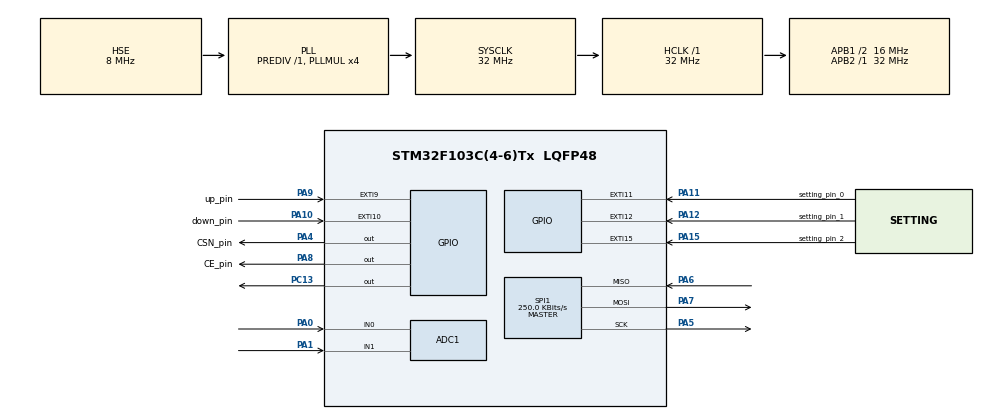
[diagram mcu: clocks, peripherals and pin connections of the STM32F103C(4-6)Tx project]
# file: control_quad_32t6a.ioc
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ADC1.Channel-7\#ChannelRegularConversion=ADC_CHANNEL_0
ADC1.NbrOfConversion=1
ADC1.NbrOfConversionFlag=1
ADC1.Rank-7\#ChannelRegularConversion=1
ADC1.SamplingTime-7\#ChannelRegularConversion=ADC_SAMPLETIME_239CYCLES_5
ADC1.master=1
Mcu.Family=STM32F1
Mcu.Name=STM32F103C(4-6)Tx
Mcu.Package=LQFP48
NVIC.ADC1_2_IRQn=true\:0\:0\:false\:false\:true\:true\:true\:true
NVIC.EXTI15_10_IRQn=true\:0\:0\:false\:false\:true\:true\:true\:true
NVIC.EXTI9_5_IRQn=true\:0\:0\:false\:false\:true\:true\:true\:true
NVIC.PriorityGroup=NVIC_PRIORITYGROUP_4
PA0-WKUP.Signal=ADCx_IN0
PA1.Signal=ADCx_IN1
PA10.GPIO_Label=down_pin
PA10.GPIO_ModeDefaultEXTI=GPIO_MODE_IT_RISING_FALLING
PA10.GPIO_PuPd=GPIO_PULLUP
PA10.Signal=GPXTI10
PA11.GPIO_Label=setting_pin_0
PA11.GPIO_ModeDefaultEXTI=GPIO_MODE_IT_RISING_FALLING
PA11.GPIO_PuPd=GPIO_PULLUP
PA11.Signal=GPXTI11
PA12.GPIO_Label=setting_pin_1
PA12.GPIO_ModeDefaultEXTI=GPIO_MODE_IT_RISING_FALLING
PA12.GPIO_PuPd=GPIO_PULLUP
PA12.Signal=GPXTI12
PA13.Mode=Serial_Wire
PA13.Signal=SYS_JTMS-SWDIO
PA14.Mode=Serial_Wire
PA14.Signal=SYS_JTCK-SWCLK
PA15.GPIO_Label=setting_pin_2
PA15.GPIO_ModeDefaultEXTI=GPIO_MODE_IT_RISING_FALLING
PA15.GPIO_PuPd=GPIO_PULLUP
PA15.Signal=GPXTI15
PA4.GPIO_Label=CSN_pin
PA4.PinState=GPIO_PIN_RESET
PA4.Signal=GPIO_Output
PA5.Mode=Full_Duplex_Master
PA5.Signal=SPI1_SCK
PA6.Mode=Full_Duplex_Master
PA6.Signal=SPI1_MISO
PA7.Mode=Full_Duplex_Master
PA7.Signal=SPI1_MOSI
PA8.GPIO_Label=CE_pin
PA8.Signal=GPIO_Output
PA9.GPIO_Label=up_pin
PA9.GPIO_ModeDefaultEXTI=GPIO_MODE_IT_RISING_FALLING
PA9.GPIO_PuPd=GPIO_PULLUP
PA9.Signal=GPXTI9
PC13-TAMPER-RTC.PinState=GPIO_PIN_RESET
PC13-TAMPER-RTC.Signal=GPIO_Output
PD0-OSC_IN.Mode=HSE-External-Oscillator
PD0-OSC_IN.Signal=RCC_OSC_IN
PD1-OSC_OUT.Mode=HSE-External-Oscillator
PD1-OSC_OUT.Signal=RCC_OSC_OUT
ProjectManager.HeapSize=0x200
ProjectManager.StackSize=0x400
ProjectManager.TargetToolchain=STM32CubeIDE
RCC.ADCPresc=RCC_ADCPCLK2_DIV4
RCC.AHBFreq_Value=32000000
RCC.APB1CLKDivider=RCC_HCLK_DIV2
RCC.APB1Freq_Value=16000000
RCC.APB1TimFreq_Value=32000000
RCC.APB2Freq_Value=32000000
RCC.APB2TimFreq_Value=32000000
RCC.HCLKFreq_Value=32000000
RCC.PLLMUL=RCC_PLL_MUL4
RCC.PLLSourceVirtual=RCC_PLLSOURCE_HSE
RCC.SYSCLKFreq_VALUE=32000000
RCC.SYSCLKSource=RCC_SYSCLKSOURCE_PLLCLK
RCC.USBFreq_Value=32000000
SH.ADCx_IN0.0=ADC1_IN0,IN0
SH.ADCx_IN1.0=ADC1_IN1,IN1
SPI1.BaudRatePrescaler=SPI_BAUDRATEPRESCALER_128
SPI1.CalculateBaudRate=250.0 KBits/s
SPI1.Direction=SPI_DIRECTION_2LINES
SPI1.Mode=SPI_MODE_MASTER
SPI1.VirtualType=VM_MASTER
board=custom

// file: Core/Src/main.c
/* USER CODE BEGIN Header */
/**
  ******************************************************************************
  * @file           : main.c
  * @brief          : Main program body
  ******************************************************************************
  * @attention
  *
  * Copyright (c) 2022 STMicroelectronics.
  * All rights reserved.
  *
  * This software is licensed under terms that can be found in the LICENSE file
  * in the root directory of this software component.
  * If no LICENSE file comes with this software, it is provided AS-IS.
  *
  ******************************************************************************
  */
/* USER CODE END Header */
#include "main.h"

ADC_HandleTypeDef hadc1;

SPI_HandleTypeDef hspi1;

/* USER CODE BEGIN PV */
uint8_t data_tran[20] = {0};
uint8_t data_rx[20] = {0};
data_send data_to_quad;
uint16_t couter_send_data;
NRF24L01_config_TypeDef nrf_tx_cfg;
bool button_status[2];
/* USER CODE END PV */

void SystemClock_Config(void);
static void MX_GPIO_Init(void);
static void MX_ADC1_Init(void);
static void MX_SPI1_Init(void);
/* USER CODE BEGIN PFP */
uint16_t counter = 0 ;
void ADC_Select_CH0(void);
void ADC_Select_CH1(void);
/* USER CODE END PFP */

/* USER CODE BEGIN 0 */
void ADC_Select_CH0(void)
{
	 ADC_ChannelConfTypeDef sConfig = {0};
	 sConfig.Channel = ADC_CHANNEL_0;
	 sConfig.Rank = ADC_REGULAR_RANK_1;
	 sConfig.SamplingTime = ADC_SAMPLETIME_239CYCLES_5;
	 if (HAL_ADC_ConfigChannel(&hadc1, &sConfig) != HAL_OK)
	 {
	   Error_Handler();
	 }
}
void ADC_Select_CH1(void)
{
	ADC_ChannelConfTypeDef sConfig = {0};
	 sConfig.Channel = ADC_CHANNEL_1;
	 sConfig.Rank = ADC_REGULAR_RANK_1;
	 sConfig.SamplingTime = ADC_SAMPLETIME_239CYCLES_5;
	 if (HAL_ADC_ConfigChannel(&hadc1, &sConfig) != HAL_OK)
	 {
	   Error_Handler();
	 }
}
void HAL_GPIO_EXTI_Callback(uint16_t GPIO_Pin)
{
  UNUSED(GPIO_Pin);

//  HAL_GPIO_ReadPin
  do{
	  button_status[0] =HAL_GPIO_ReadPin(GPIOA, GPIO_Pin);
	  button_status[1] =HAL_GPIO_ReadPin(GPIOA, GPIO_Pin);
  }while(button_status[0]!=button_status[1]);
   	//send data to nrf24
   	if(button_status[0] == false && button_status[1] == false){
   			if (GPIO_Pin == up_pin_Pin){
   		   		data_to_quad.tx_quad_data[0]= 1<< 0;
   		   	}
   		   	else if(GPIO_Pin == down_pin_Pin){
   		   		data_to_quad.tx_quad_data[0]= 1<< 1;
   		   	}
   		   	else if(GPIO_Pin == setting_pin_0_Pin){
   		   		data_to_quad.tx_quad_data[0]= 1<< 2;
   			}
   			else if(GPIO_Pin == setting_pin_1_Pin){
   				data_to_quad.tx_quad_data[0]= 1<< 3;
   			}
   			else if(GPIO_Pin == setting_pin_2_Pin){
   				data_to_quad.tx_quad_data[0]= 1<< 4;
   			}
   			else{
   				data_to_quad.tx_quad_data[0] &= 0b11100000;
   				HAL_GPIO_WritePin(GPIOC, GPIO_PIN_13,GPIO_PIN_SET);
   			}
		if (data_to_quad.tx_quad_data[0] != data_to_quad.old_tx_quad_data[0]){
			HAL_GPIO_WritePin(GPIOC, GPIO_PIN_13,GPIO_PIN_RESET);
		}
   	}
   	else{
   		data_to_quad.tx_quad_data[0] &= 0b11100000;
   		HAL_GPIO_WritePin(GPIOC, GPIO_PIN_13,GPIO_PIN_SET);
   	}
   	mbal_NRF24L01_Transmit(&nrf_tx_cfg, &data_to_quad.tx_quad_data[0]);
   	HAL_GPIO_TogglePin(GPIOC, GPIO_PIN_13);
}
void HAL_ADC_ConvCpltCallback(ADC_HandleTypeDef* hadc)
{
	HAL_ADC_Stop_IT(&hadc1);
	ADC_Select_CH0();
    HAL_ADC_Start(&hadc1);
    HAL_ADC_PollForConversion(&hadc1, 1000);
    data_to_quad.dataread_sw[0] = HAL_ADC_GetValue(&hadc1);
	HAL_ADC_Stop(&hadc1);
	ADC_Select_CH1();
	HAL_ADC_Start(&hadc1);
	HAL_ADC_PollForConversion(&hadc1, 1000);
	data_to_quad.dataread_sw[1] = HAL_ADC_GetValue(&hadc1);
	HAL_ADC_Stop(&hadc1);

	if( data_to_quad.dataread_sw[1]==0 && (data_to_quad.dataread_sw[0]>1500 && data_to_quad.dataread_sw[0]<2500)){
		data_to_quad.tx_quad_data[0] = (data_to_quad.tx_quad_data[0] & 0x1f) |(1 << 5);
	}
	else if (data_to_quad.dataread_sw[0]>4000 && (data_to_quad.dataread_sw[1]>1500 && data_to_quad.dataread_sw[1]<2500) ){
		data_to_quad.tx_quad_data[0] = (data_to_quad.tx_quad_data[0] & 0x1f) |(2 << 5);
	}
	else if(data_to_quad.dataread_sw[1]>4000 && (data_to_quad.dataread_sw[0]>1500 && data_to_quad.dataread_sw[0]<2500)){
		data_to_quad.tx_quad_data[0] = (data_to_quad.tx_quad_data[0] & 0x1f) |(3 << 5);
	}
	else if(data_to_quad.dataread_sw[0]==0 && (data_to_quad.dataread_sw[1]>1500 && data_to_quad.dataread_sw[1]<2500)){
		data_to_quad.tx_quad_data[0] = (data_to_quad.tx_quad_data[0] & 0x1f) |(4 << 5);
	}
	else{
		data_to_quad.tx_quad_data[0] = (data_to_quad.tx_quad_data[0] & 0x1f) |(0 << 5);
	}
	if (data_to_quad.tx_quad_data[0] != data_to_quad.old_tx_quad_data[0]){
		mbal_NRF24L01_Transmit(&nrf_tx_cfg, &data_to_quad.tx_quad_data[0]);
//		HAL_GPIO_WritePin(GPIOC, GPIO_PIN_13,GPIO_PIN_SET);
		}
	else{
//		 HAL_GPIO_WritePin(GPIOC, GPIO_PIN_13,GPIO_PIN_RESET);
	}
	//send data to nrf24
	data_to_quad.old_tx_quad_data[0] = data_to_quad.tx_quad_data[0];

HAL_ADC_Start_IT(&hadc1);
}

/* USER CODE END 0 */

int main(void)
{

  /* MCU Configuration--------------------------------------------------------*/

  /* Reset of all peripherals, Initializes the Flash interface and the Systick. */
  HAL_Init();

  /* Configure the system clock */
  SystemClock_Config();

  /* Initialize all configured peripherals */
  MX_GPIO_Init();
  MX_ADC1_Init();
  MX_SPI1_Init();
  /* USER CODE BEGIN 2 */
  HAL_GPIO_WritePin( GPIOC, GPIO_PIN_13, GPIO_PIN_SET );
    //nrf_tx_cfg.RX_TX           = 0; //0 - TX
    nrf_tx_cfg.CE_pin          = CE_pin_Pin;
    nrf_tx_cfg.CE_port         = CE_pin_GPIO_Port;
    nrf_tx_cfg.CSN_pin         = CSN_pin_Pin;
    nrf_tx_cfg.CSN_port        = CSN_pin_GPIO_Port;
    nrf_tx_cfg.SPI             = &hspi1;
    nrf_tx_cfg.radio_channel   = 15;
    nrf_tx_cfg.baud_rate       = TM_NRF24L01_DataRate_1M;
    nrf_tx_cfg.payload_len     = 1;
    nrf_tx_cfg.crc_len         = 1;
    nrf_tx_cfg.output_power    = TM_NRF24L01_OutputPower_0dBm;
    nrf_tx_cfg.rx_address[ 0 ] = 0xE7;
    nrf_tx_cfg.rx_address[ 1 ] = 0xE7;
    nrf_tx_cfg.rx_address[ 2 ] = 0xE7;
    nrf_tx_cfg.rx_address[ 3 ] = 0xE7;
    nrf_tx_cfg.rx_address[ 4 ] = 0xE7;
    nrf_tx_cfg.tx_address[ 0 ] = 0x7E;
    nrf_tx_cfg.tx_address[ 1 ] = 0x7E;
    nrf_tx_cfg.tx_address[ 2 ] = 0x7E;
    nrf_tx_cfg.tx_address[ 3 ] = 0x7E;
    nrf_tx_cfg.tx_address[ 4 ] = 0x7E;
    /* Data received and data for send */
    mbal_NRF24L01_Init( &nrf_tx_cfg );
    HAL_Delay(500);
    HAL_ADC_Start_IT(&hadc1);
    HAL_Delay(200);
//    for(int i = 0; i < 20 ; i++)
//    	  {
//    		  data_tran[i]= i;
//    		  data_rx[i] =  mbal_NRF24L01_ReadRegister(&nrf_tx_cfg,data_tran[i]);
//    	  }
  /* USER CODE END 2 */

  /* Infinite loop */
  /* USER CODE BEGIN WHILE */
  while (1)
  {
//	  if (data_to_quad.tx_quad_data[0] != data_to_quad.old_tx_quad_data[0]){
//		  mbal_NRF24L01_Transmit(&nrf_tx_cfg, &data_to_quad.tx_quad_data[0]);
//		  HAL_GPIO_WritePin(GPIOC, GPIO_PIN_13,GPIO_PIN_SET);
//	  }
//	  else{
//	   	HAL_GPIO_WritePin(GPIOC, GPIO_PIN_13,GPIO_PIN_RESET);
//	  }
//	  HAL_Delay(100);
    /* USER CODE END WHILE */

  }
}

void SystemClock_Config(void)
{
  RCC_OscInitTypeDef RCC_OscInitStruct = {0};
  RCC_ClkInitTypeDef RCC_ClkInitStruct = {0};
  RCC_PeriphCLKInitTypeDef PeriphClkInit = {0};

  /** Initializes the RCC Oscillators according to the specified parameters
  * in the RCC_OscInitTypeDef structure.
  */
  RCC_OscInitStruct.OscillatorType = RCC_OSCILLATORTYPE_HSE;
  RCC_OscInitStruct.HSEState = RCC_HSE_ON;
  RCC_OscInitStruct.HSEPredivValue = RCC_HSE_PREDIV_DIV1;
  RCC_OscInitStruct.HSIState = RCC_HSI_ON;
  RCC_OscInitStruct.PLL.PLLState = RCC_PLL_ON;
  RCC_OscInitStruct.PLL.PLLSource = RCC_PLLSOURCE_HSE;
  RCC_OscInitStruct.PLL.PLLMUL = RCC_PLL_MUL4;
  if (HAL_RCC_OscConfig(&RCC_OscInitStruct) != HAL_OK)
  {
    Error_Handler();
  }

  /** Initializes the CPU, AHB and APB buses clocks
  */
  RCC_ClkInitStruct.ClockType = RCC_CLOCKTYPE_HCLK|RCC_CLOCKTYPE_SYSCLK
                              |RCC_CLOCKTYPE_PCLK1|RCC_CLOCKTYPE_PCLK2;
  RCC_ClkInitStruct.SYSCLKSource = RCC_SYSCLKSOURCE_PLLCLK;
  RCC_ClkInitStruct.AHBCLKDivider = RCC_SYSCLK_DIV1;
  RCC_ClkInitStruct.APB1CLKDivider = RCC_HCLK_DIV2;
  RCC_ClkInitStruct.APB2CLKDivider = RCC_HCLK_DIV1;

  if (HAL_RCC_ClockConfig(&RCC_ClkInitStruct, FLASH_LATENCY_1) != HAL_OK)
  {
    Error_Handler();
  }
  PeriphClkInit.PeriphClockSelection = RCC_PERIPHCLK_ADC;
  PeriphClkInit.AdcClockSelection = RCC_ADCPCLK2_DIV4;
  if (HAL_RCCEx_PeriphCLKConfig(&PeriphClkInit) != HAL_OK)
  {
    Error_Handler();
  }
}

static void MX_ADC1_Init(void)
{

  ADC_ChannelConfTypeDef sConfig = {0};

  /** Common config
  */
  hadc1.Instance = ADC1;
  hadc1.Init.ScanConvMode = ADC_SCAN_DISABLE;
  hadc1.Init.ContinuousConvMode = DISABLE;
  hadc1.Init.DiscontinuousConvMode = DISABLE;
  hadc1.Init.ExternalTrigConv = ADC_SOFTWARE_START;
  hadc1.Init.DataAlign = ADC_DATAALIGN_RIGHT;
  hadc1.Init.NbrOfConversion = 1;
  if (HAL_ADC_Init(&hadc1) != HAL_OK)
  {
    Error_Handler();
  }

  /** Configure Regular Channel
  */
  sConfig.Channel = ADC_CHANNEL_0;
  sConfig.Rank = ADC_REGULAR_RANK_1;
  sConfig.SamplingTime = ADC_SAMPLETIME_239CYCLES_5;
  if (HAL_ADC_ConfigChannel(&hadc1, &sConfig) != HAL_OK)
  {
    Error_Handler();
  }

}

static void MX_SPI1_Init(void)
{

  /* SPI1 parameter configuration*/
  hspi1.Instance = SPI1;
  hspi1.Init.Mode = SPI_MODE_MASTER;
  hspi1.Init.Direction = SPI_DIRECTION_2LINES;
  hspi1.Init.DataSize = SPI_DATASIZE_8BIT;
  hspi1.Init.CLKPolarity = SPI_POLARITY_LOW;
  hspi1.Init.CLKPhase = SPI_PHASE_1EDGE;
  hspi1.Init.NSS = SPI_NSS_SOFT;
  hspi1.Init.BaudRatePrescaler = SPI_BAUDRATEPRESCALER_128;
  hspi1.Init.FirstBit = SPI_FIRSTBIT_MSB;
  hspi1.Init.TIMode = SPI_TIMODE_DISABLE;
  hspi1.Init.CRCCalculation = SPI_CRCCALCULATION_DISABLE;
  hspi1.Init.CRCPolynomial = 10;
  if (HAL_SPI_Init(&hspi1) != HAL_OK)
  {
    Error_Handler();
  }

}

static void MX_GPIO_Init(void)
{
  GPIO_InitTypeDef GPIO_InitStruct = {0};

  /* GPIO Ports Clock Enable */
  __HAL_RCC_GPIOC_CLK_ENABLE();
  __HAL_RCC_GPIOD_CLK_ENABLE();
  __HAL_RCC_GPIOA_CLK_ENABLE();

  /*Configure GPIO pin Output Level */
  HAL_GPIO_WritePin(GPIOC, GPIO_PIN_13, GPIO_PIN_RESET);

  /*Configure GPIO pin Output Level */
  HAL_GPIO_WritePin(GPIOA, CSN_pin_Pin|CE_pin_Pin, GPIO_PIN_RESET);

  /*Configure GPIO pin : PC13 */
  GPIO_InitStruct.Pin = GPIO_PIN_13;
  GPIO_InitStruct.Mode = GPIO_MODE_OUTPUT_PP;
  GPIO_InitStruct.Pull = GPIO_NOPULL;
  GPIO_InitStruct.Speed = GPIO_SPEED_FREQ_LOW;
  HAL_GPIO_Init(GPIOC, &GPIO_InitStruct);

  /*Configure GPIO pins : CSN_pin_Pin CE_pin_Pin */
  GPIO_InitStruct.Pin = CSN_pin_Pin|CE_pin_Pin;
  GPIO_InitStruct.Mode = GPIO_MODE_OUTPUT_PP;
  GPIO_InitStruct.Pull = GPIO_NOPULL;
  GPIO_InitStruct.Speed = GPIO_SPEED_FREQ_LOW;
  HAL_GPIO_Init(GPIOA, &GPIO_InitStruct);

  /*Configure GPIO pins : up_pin_Pin down_pin_Pin setting_pin_0_Pin setting_pin_1_Pin
                           setting_pin_2_Pin */
  GPIO_InitStruct.Pin = up_pin_Pin|down_pin_Pin|setting_pin_0_Pin|setting_pin_1_Pin
                          |setting_pin_2_Pin;
  GPIO_InitStruct.Mode = GPIO_MODE_IT_RISING_FALLING;
  GPIO_InitStruct.Pull = GPIO_PULLUP;
  HAL_GPIO_Init(GPIOA, &GPIO_InitStruct);

  /* EXTI interrupt init*/
  HAL_NVIC_SetPriority(EXTI9_5_IRQn, 0, 0);
  HAL_NVIC_EnableIRQ(EXTI9_5_IRQn);

  HAL_NVIC_SetPriority(EXTI15_10_IRQn, 0, 0);
  HAL_NVIC_EnableIRQ(EXTI15_10_IRQn);

}

void Error_Handler(void)
{
  __disable_irq();
  while (1)
  {
  }
}
